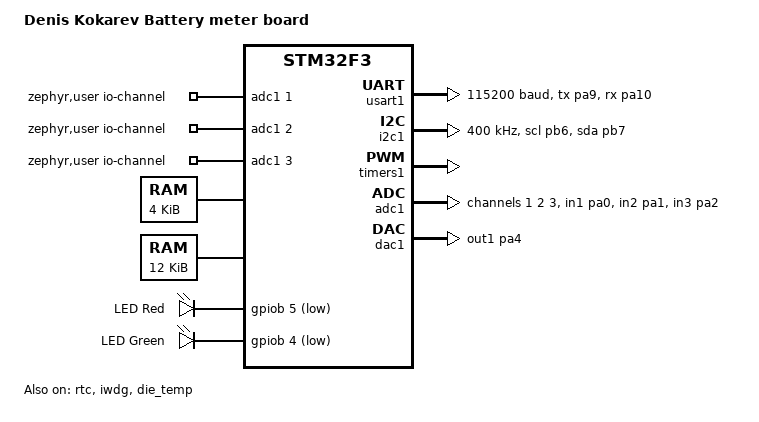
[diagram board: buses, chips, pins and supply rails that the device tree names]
/dts-v1/;
#include <mem.h>
#include <st/f3/stm32f334.dtsi>
#include "stm32f334k(4-6-8)tx-pinctrl.dtsi"

/ {
	model = "Denis Kokarev Battery meter board";
	compatible = "st,stm32f3_batmet";

	zephyr,user {
		dac = <&dac1>;
		dac-channel-id = <1>;
		dac-resolution = <12>;
		io-channels = <&adc1 1 &adc1 2 &adc1 3>;
	};

	ccm0: memory@10000000 {
		compatible = "zephyr,memory-region", "st,stm32-ccm";
		reg = <0x10000000 DT_SIZE_K(4)>;
		zephyr,memory-region = "CCM";
	};

	sram0: memory@20000000 {
		reg = <0x20000000 DT_SIZE_K(12)>;
	};

	soc {
		flash-controller@40022000 {
			flash0: flash@8000000 {
				reg = <0x08000000 DT_SIZE_K(64)>;
			};
		};
	};

	chosen {
		zephyr,console = &usart1;
		zephyr,shell-uart = &usart1;
		zephyr,sram = &sram0;
		zephyr,flash = &flash0;
		zephyr,ccm = &ccm0;
	};

	leds {
		// wtf, something is wrong with gpios
		// in order to make active high have to set it low???
		compatible = "gpio-leds";
		red_led: led_1 {
			gpios = <&gpiob 5 GPIO_ACTIVE_LOW>;
			label = "LED Red";
		};
		green_led: led_2 {
			gpios = <&gpiob 4 GPIO_ACTIVE_LOW>;
			label = "LED Green";
		};
	};

	gpio_keys {
		compatible = "gpio-keys";
	};

	aliases {
		ledr = &red_led;
		ledg = &green_led;
		watchdog0 = &iwdg;
	};
};

&clk_lsi {
	status = "okay";
};

&clk_hsi {
	clock-frequency = <DT_FREQ_M(8)>;
	status = "okay";
};

&pll {
	prediv = <2>;
	mul = <9>;
	clocks = <&clk_hsi>;
	status = "okay";
};

&rcc {
	clocks = <&pll>;
	clock-frequency = <DT_FREQ_M(36)>;
	ahb-prescaler = <1>;
	apb1-prescaler = <1>; // may not be /2, otherwise uart is reduced twice
	apb2-prescaler = <1>;
};

&usart1 {
	pinctrl-0 = <&usart1_tx_pa9 &usart1_rx_pa10>;
	pinctrl-names = "default";
	current-speed = <115200>;
	hw-flow-control;
	parity = "none";
	status = "okay";
};

&i2c1 {
	pinctrl-0 = <&i2c1_scl_pb6 &i2c1_sda_pb7>;
	pinctrl-names = "default";
	status = "okay";
	clock-frequency = <I2C_BITRATE_FAST>;
};

&rtc {
	clocks = <&rcc STM32_CLOCK_BUS_APB1 0x10000000>,
		 <&rcc STM32_SRC_LSI RTC_SEL(2)>;
	status = "okay";
};

&flash0 {
	partitions {
		compatible = "fixed-partitions";
		#address-cells = <1>;
		#size-cells = <1>;

		// we're not using mcuboot, so boot partition doesn't matter, but
		// NB!!! If using NVS, the image size must not exceed 58k
		// If NVS is not used, the partition map doesn't matter, all 64k
		// may be used as code
		boot_partition: partition@0 {
			reg = <0x0 DT_SIZE_K(58)>;
			read-only;
		};

		// Set 2k * 3 sectors of storage at the end of the 64Kb of flash
		storage_partition: partition@e800 {
			label = "storage";
			reg = <0xe800 DT_SIZE_K(6)>;
		};
	};
};

&iwdg {
	status = "okay";
};

&timers1 {
	st,prescaler = <10000>;
	status = "okay";
	pwm1: pwm {
		status = "okay";
		pinctrl-0 = <&tim1_ch1_pa8>;
		pinctrl-names = "default";
	};
};

&adc1 {
	#address-cells = <1>;
	#size-cells = <0>;
	pinctrl-0 = <&adc1_in1_pa0 &adc1_in2_pa1 &adc1_in3_pa2>;
	pinctrl-names = "default";

	channel@1 {
		reg = <1>;
		zephyr,gain = "ADC_GAIN_1";
		zephyr,reference = "ADC_REF_INTERNAL";
		zephyr,acquisition-time = <ADC_ACQ_TIME_DEFAULT>;
		zephyr,resolution = <12>;
	};
	channel@2 {
		reg = <2>;
		zephyr,gain = "ADC_GAIN_1";
		zephyr,reference = "ADC_REF_INTERNAL";
		zephyr,acquisition-time = <ADC_ACQ_TIME_DEFAULT>;
		zephyr,resolution = <12>;
	};
	channel@3 {
		reg = <3>;
		zephyr,gain = "ADC_GAIN_1";
		zephyr,reference = "ADC_REF_INTERNAL";
		zephyr,acquisition-time = <ADC_ACQ_TIME_DEFAULT>;
		zephyr,resolution = <12>;
	};
	status = "okay";
};

&die_temp {
	status = "okay";
};

&dac1 {
	status = "okay";
	/* dac output pins(pa4,pa5,pa6) might conflict with spi1 pins */
	pinctrl-0 = <&dac1_out1_pa4>;
	pinctrl-names = "default";
};

&dma1 {
	status = "okay";
};
